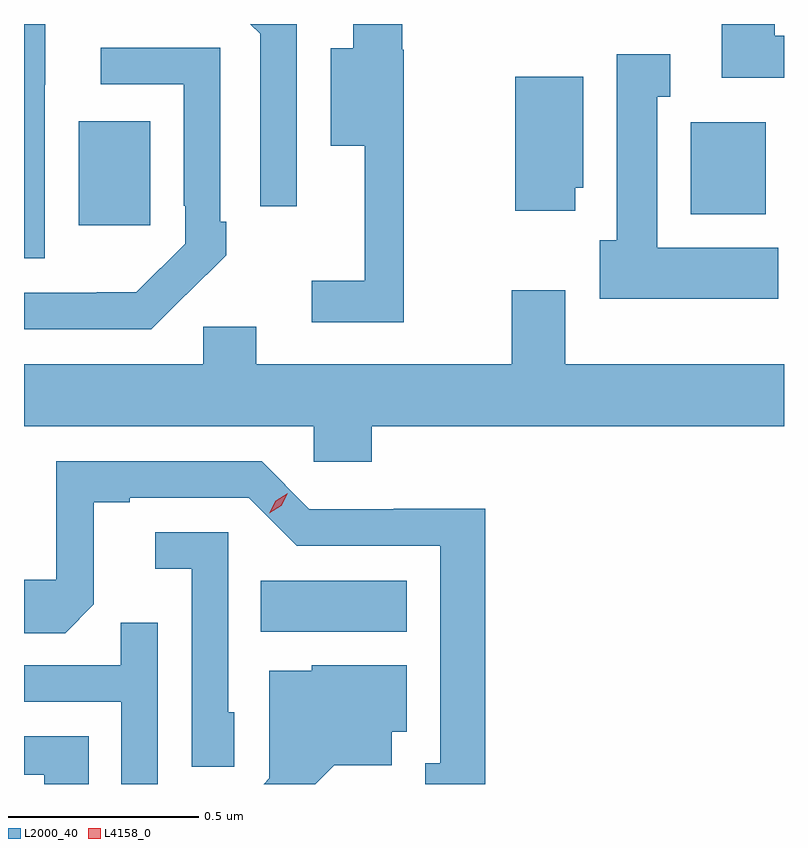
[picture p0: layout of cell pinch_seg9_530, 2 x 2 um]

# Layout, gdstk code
import gdstk
lib = gdstk.Library(unit=1e-6, precision=1e-09)
def R(c, l, rs):  # rectangles x0, y0, x1, y1
    for r in rs: c.add(gdstk.rectangle(r[:2], r[2:], *l))
def P(c, l, *ps):  # polygons
    for p in ps: c.add(gdstk.Polygon(p, *l))
L2000_40 = (2000, 40)
L4158_0 = (4158, 0)

pinch_seg9_530 = lib.new_cell('pinch_seg9_530')
R(pinch_seg9_530, L2000_40, [(274.786,1197.212,275.17,1197.346), (274.307,1198.281,274.495,1198.555), (275.918,1198.31,276.115,1198.552)])
P(pinch_seg9_530, L2000_40, [(274.218,1198.651),(274.219,1198.651),(274.219,1198.811),(274.163,1198.811),(274.163,1198.194),(274.218,1198.194)],
  [(274.881,1198.811),(274.759,1198.811),(274.785,1198.785),(274.785,1198.332),(274.881,1198.332)],
  [(276.163,1198.78),(276.139,1198.78),(276.139,1198.811),(275.999,1198.811),(275.999,1198.67),(276.163,1198.67)],
  [(275.162,1198.743),(275.158,1198.743),(275.158,1198.811),(275.03,1198.811),(275.03,1198.747),(274.97,1198.747),(274.97,1198.49),(275.06,1198.49),(275.06,1198.135),(274.92,1198.135),(274.92,1198.026),(275.162,1198.026)],
  [(274.589,1198.099),(274.59,1198.098),(274.695,1198.203),(274.695,1198.291),(274.68,1198.291),(274.68,1198.749),(274.365,1198.749),(274.365,1198.653),(274.584,1198.653),(274.584,1198.333),(274.587,1198.333),(274.587,1198.233),(274.459,1198.105),(274.355,1198.105),(274.355,1198.104),(274.163,1198.104),(274.163,1198.008),(274.498,1198.008)],
  [(276.148,1198.222),(275.83,1198.222),(275.83,1198.619),(275.863,1198.619),(275.863,1198.732),(275.723,1198.732),(275.723,1198.242),(275.678,1198.242),(275.678,1198.088),(276.148,1198.088)],
  [(275.614,1198.38),(275.635,1198.38),(275.635,1198.672),(275.456,1198.672),(275.456,1198.32),(275.614,1198.32)],
  [(275.078,1197.752),(276.163,1197.752),(276.163,1197.916),(275.587,1197.916),(275.587,1198.111),(275.447,1198.111),(275.447,1197.916),(274.774,1197.916),(274.774,1198.014),(274.635,1198.014),(274.635,1197.916),(274.163,1197.916),(274.163,1197.752),(274.926,1197.752),(274.926,1197.659),(275.078,1197.659)],
  [(275.377,1197.536),(275.136,1197.536),(275.136,1197.534),(274.914,1197.534),(274.788,1197.66),(274.248,1197.66),(274.248,1197.348),(274.163,1197.348),(274.163,1197.208),(274.271,1197.208),(274.347,1197.284),(274.347,1197.552),(274.441,1197.552),(274.441,1197.564),(274.755,1197.564),(274.881,1197.438),(275.258,1197.438),(275.258,1196.865),(275.219,1196.865),(275.219,1196.811),(275.377,1196.811)],
  [(274.716,1197),(274.701,1197),(274.701,1197.474),(274.509,1197.474),(274.509,1197.377),(274.605,1197.377),(274.605,1196.857),(274.716,1196.857)],
  [(274.515,1197.236),(274.417,1197.236),(274.417,1197.123),(274.163,1197.123),(274.163,1197.027),(274.419,1197.027),(274.419,1196.811),(274.515,1196.811)],
  [(274.979,1196.861),(275.131,1196.861),(275.131,1196.948),(275.17,1196.948),(275.17,1197.124),(274.92,1197.124),(274.92,1197.109),(274.809,1197.109),(274.809,1196.826),(274.794,1196.811),(274.929,1196.811)],
  [(274.334,1196.937),(274.163,1196.937),(274.163,1196.836),(274.216,1196.836),(274.216,1196.811),(274.334,1196.811)])
P(pinch_seg9_530, L4158_0, [(274.809,1197.524),(274.809,1197.524),(274.826,1197.557),(274.857,1197.576),(274.857,1197.576),(274.857,1197.576),(274.84,1197.543),(274.809,1197.524)])

lib.write_gds('pinch_seg9_530.gds')
